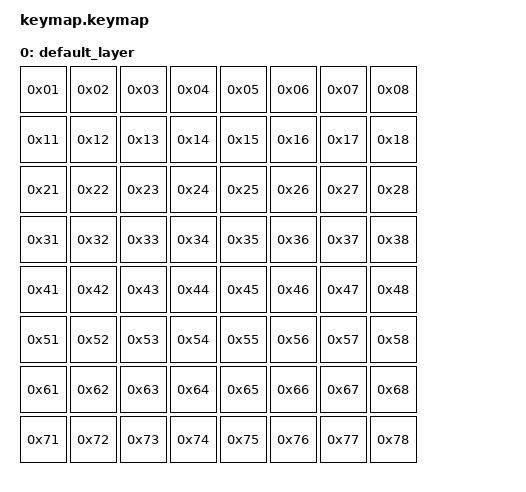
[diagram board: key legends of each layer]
keymap {
    compatible = "zmk,keymap";

    default_layer {
        bindings = <
            &kp 0x01 &kp 0x02 &kp 0x03 &kp 0x04 &kp 0x05 &kp 0x06 &kp 0x07 &kp 0x08
            &kp 0x11 &kp 0x12 &kp 0x13 &kp 0x14 &kp 0x15 &kp 0x16 &kp 0x17 &kp 0x18
            &kp 0x21 &kp 0x22 &kp 0x23 &kp 0x24 &kp 0x25 &kp 0x26 &kp 0x27 &kp 0x28
            &kp 0x31 &kp 0x32 &kp 0x33 &kp 0x34 &kp 0x35 &kp 0x36 &kp 0x37 &kp 0x38
            &kp 0x41 &kp 0x42 &kp 0x43 &kp 0x44 &kp 0x45 &kp 0x46 &kp 0x47 &kp 0x48
            &kp 0x51 &kp 0x52 &kp 0x53 &kp 0x54 &kp 0x55 &kp 0x56 &kp 0x57 &kp 0x58
            &kp 0x61 &kp 0x62 &kp 0x63 &kp 0x64 &kp 0x65 &kp 0x66 &kp 0x67 &kp 0x68
            &kp 0x71 &kp 0x72 &kp 0x73 &kp 0x74 &kp 0x75 &kp 0x76 &kp 0x77 &kp 0x78
        >;
    };
};
